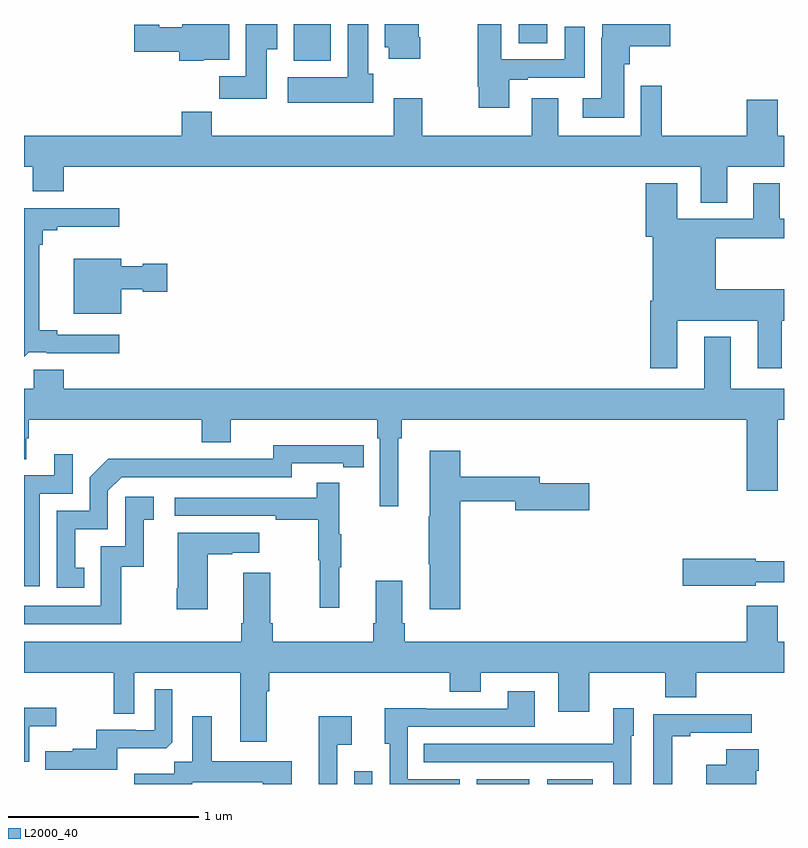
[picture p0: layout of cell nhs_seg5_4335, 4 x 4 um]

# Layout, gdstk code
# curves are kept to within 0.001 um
import gdstk
lib = gdstk.Library(unit=1e-6, precision=1e-09)
def R(c, l, rs):  # rectangles x0, y0, x1, y1
    for r in rs: c.add(gdstk.rectangle(r[:2], r[2:], *l))
def P(c, l, *ps):  # polygons
    for p in ps: c.add(gdstk.Polygon(p, *l))
L2000_40 = (2000, 40)

nhs_seg5_4335 = lib.new_cell('nhs_seg5_4335')
R(nhs_seg5_4335, L2000_40, [(366.738,898.799,366.834,898.867), (367.382,898.799,367.66,898.825), (367.754,898.799,367.993,898.825), (366.419,902.606,366.615,902.799), (367.604,902.698,367.753,902.799)])
P(nhs_seg5_4335, L2000_40, [(365.946,902.612),(366.079,902.612),(366.079,902.799),(365.832,902.799),(365.832,902.782),(365.712,902.782),(365.712,902.795),(365.58,902.795),(365.58,902.653),(365.816,902.653),(365.816,902.606),(365.946,902.606)],
  [(367.555,902.505),(367.651,902.505),(367.651,902.517),(367.951,902.517),(367.951,902.785),(367.847,902.785),(367.847,902.613),(367.513,902.613),(367.513,902.799),(367.387,902.799),(367.387,902.47),(367.394,902.47),(367.394,902.358),(367.555,902.358)],
  [(367.086,902.728),(367.078,902.728),(367.078,902.799),(366.899,902.799),(366.899,902.676),(366.92,902.676),(366.92,902.616),(367.086,902.616)],
  [(366.277,902.665),(366.334,902.665),(366.334,902.799),(366.167,902.799),(366.167,902.524),(366.028,902.524),(366.028,902.406),(366.277,902.406)],
  [(368.158,902.586),(368.189,902.586),(368.189,902.681),(368.401,902.681),(368.401,902.799),(368.043,902.799),(368.043,902.726),(368.039,902.726),(368.039,902.407),(367.941,902.407),(367.941,902.306),(368.158,902.306)],
  [(366.838,902.538),(366.811,902.538),(366.811,902.799),(366.704,902.799),(366.704,902.518),(366.387,902.518),(366.387,902.384),(366.838,902.384)],
  [(368.701,902.048),(369,902.048),(369,902.212),(368.968,902.212),(368.968,902.401),(368.804,902.401),(368.804,902.212),(368.356,902.212),(368.356,902.473),(368.247,902.473),(368.247,902.212),(367.813,902.212),(367.813,902.407),(367.673,902.407),(367.673,902.212),(367.095,902.212),(367.095,902.407),(366.947,902.407),(366.947,902.212),(365.987,902.212),(365.987,902.336),(365.831,902.336),(365.831,902.212),(365,902.212),(365,902.048),(365.045,902.048),(365.045,901.92),(365.209,901.92),(365.209,902.048),(368.561,902.048),(368.561,901.858),(368.701,901.858)],
  [(368.437,901.238),(368.861,901.238),(368.861,900.987),(368.989,900.987),(368.989,901.238),(369,901.238),(369,901.402),(368.641,901.402),(368.641,901.672),(369,901.672),(369,901.773),(368.977,901.773),(368.977,901.96),(368.837,901.96),(368.837,901.773),(368.437,901.773),(368.437,901.96),(368.273,901.96),(368.273,901.68),(368.309,901.68),(368.309,901.342),(368.297,901.342),(368.297,900.987),(368.437,900.987)],
  [(365.025,901.071),(365.119,901.071),(365.119,901.067),(365.5,901.067),(365.5,901.164),(365.176,901.164),(365.176,901.187),(365.081,901.187),(365.081,901.637),(365.099,901.637),(365.099,901.714),(365.176,901.714),(365.176,901.733),(365.5,901.733),(365.5,901.83),(365,901.83),(365,901.047)],
  [(365.512,901.403),(365.625,901.403),(365.625,901.391),(365.755,901.391),(365.755,901.538),(365.625,901.538),(365.625,901.525),(365.512,901.525),(365.512,901.564),(365.261,901.564),(365.261,901.274),(365.512,901.274)],
  [(366.97,900.62),(366.989,900.62),(366.989,900.716),(368.804,900.716),(368.804,900.342),(368.968,900.342),(368.968,900.716),(369,900.716),(369,900.88),(368.719,900.88),(368.719,901.153),(368.579,901.153),(368.579,900.88),(365.21,900.88),(365.21,900.978),(365.05,900.978),(365.05,900.88),(365,900.88),(365,900.508),(365.011,900.508),(365.011,900.618),(365.024,900.618),(365.024,900.716),(365.936,900.716),(365.936,900.599),(366.088,900.599),(366.088,900.716),(366.86,900.716),(366.86,900.62),(366.873,900.62),(366.873,900.261),(366.97,900.261)],
  [(365.318,899.937),(365.269,899.937),(365.269,900.141),(365.442,900.141),(365.442,900.342),(365.514,900.414),(366.408,900.414),(366.408,900.486),(366.68,900.486),(366.68,900.466),(366.788,900.466),(366.788,900.582),(366.312,900.583),(366.312,900.51),(365.852,900.51),(365.852,900.512),(365.444,900.512),(365.346,900.414),(365.346,900.237),(365.172,900.237),(365.172,899.832),(365.318,899.832)],
  [(367.295,900.286),(367.586,900.286),(367.586,900.239),(367.975,900.239),(367.975,900.381),(367.714,900.381),(367.714,900.415),(367.295,900.415),(367.295,900.553),(367.136,900.553),(367.136,900.209),(367.129,900.209),(367.129,899.956),(367.136,899.956),(367.136,899.718),(367.295,899.718)],
  [(365.082,900.327),(365.256,900.327),(365.256,900.535),(365.159,900.535),(365.159,900.423),(365,900.423),(365,899.841),(365.082,899.841)],
  [(366.659,899.939),(366.67,899.939),(366.67,900.113),(366.659,900.113),(366.659,900.385),(366.541,900.385),(366.541,900.306),(365.793,900.306),(365.793,900.21),(366.325,900.21),(366.325,900.19),(366.549,900.19),(366.549,899.976),(366.556,899.976),(366.556,899.727),(366.659,899.727)],
  [(365.512,899.943),(365.63,899.943),(365.63,900.189),(365.683,900.189),(365.683,900.31),(365.532,900.31),(365.532,900.051),(365.403,900.051),(365.403,899.736),(365,899.736),(365,899.64),(365.512,899.64)],
  [(365.968,900.007),(366.095,900.007),(366.095,900.017),(366.238,900.017),(366.238,900.121),(365.81,900.121),(365.81,899.83),(365.803,899.83),(365.803,899.718),(365.968,899.718)],
  [(368.85,899.862),(369,899.862),(369,899.971),(368.85,899.971),(368.85,899.984),(368.466,899.984),(368.466,899.842),(368.85,899.842)],
  [(366.277,899.288),(366.29,899.288),(366.29,899.384),(367.241,899.384),(367.241,899.285),(367.405,899.285),(367.405,899.384),(367.811,899.384),(367.811,899.178),(367.975,899.178),(367.975,899.384),(368.375,899.384),(368.375,899.256),(368.539,899.256),(368.539,899.384),(369,899.384),(369,899.548),(368.968,899.548),(368.968,899.737),(368.804,899.737),(368.804,899.548),(367.004,899.548),(367.004,899.644),(366.991,899.644),(366.991,899.869),(366.851,899.869),(366.851,899.644),(366.839,899.644),(366.839,899.548),(366.308,899.548),(366.308,899.644),(366.295,899.644),(366.295,899.911),(366.155,899.911),(366.155,899.644),(366.143,899.644),(366.143,899.548),(365,899.548),(365,899.384),(365.472,899.384),(365.472,899.17),(365.58,899.17),(365.58,899.384),(366.137,899.384),(366.137,899.022),(366.277,899.022)],
  [(365.491,898.988),(365.749,898.988),(365.781,899.019),(365.781,899.299),(365.688,899.299),(365.688,899.082),(365.588,899.082),(365.588,899.085),(365.381,899.085),(365.381,898.984),(365.257,898.984),(365.257,898.972),(365.113,898.972),(365.113,898.875),(365.491,898.875)],
  [(367.293,898.824),(367.02,898.824),(367.02,899.1),(367.687,899.1),(367.687,899.287),(367.547,899.287),(367.547,899.196),(367.117,899.196),(367.117,899.198),(366.899,899.198),(366.899,899.01),(366.924,899.01),(366.924,898.799),(367.293,898.799)],
  [(365.028,899.102),(365.17,899.102),(365.17,899.201),(365,899.201),(365,898.917),(365.028,898.917)],
  [(368.196,899.052),(368.209,899.052),(368.209,899.197),(368.1,899.197),(368.1,899.011),(367.783,899.011),(367.783,899.01),(367.105,899.01),(367.105,898.914),(368.1,898.914),(368.1,898.799),(368.196,898.799)],
  [(368.411,899.05),(368.506,899.05),(368.506,899.07),(368.83,899.07),(368.83,899.166),(368.313,899.166),(368.313,898.799),(368.411,898.799)],
  [(366.648,899.006),(366.724,899.006),(366.724,899.155),(366.551,899.155),(366.551,898.799),(366.648,898.799)],
  [(365.886,898.808),(366.257,898.808),(366.257,898.799),(366.409,898.799),(366.409,898.918),(365.989,898.918),(365.989,899.155),(365.885,899.155),(365.885,898.916),(365.79,898.916),(365.79,898.852),(365.579,898.852),(365.579,898.799),(365.886,898.799)],
  [(368.854,898.868),(368.867,898.868),(368.867,898.981),(368.696,898.981),(368.696,898.9),(368.591,898.9),(368.591,898.799),(368.854,898.799)])

lib.write_gds('nhs_seg5_4335.gds')
